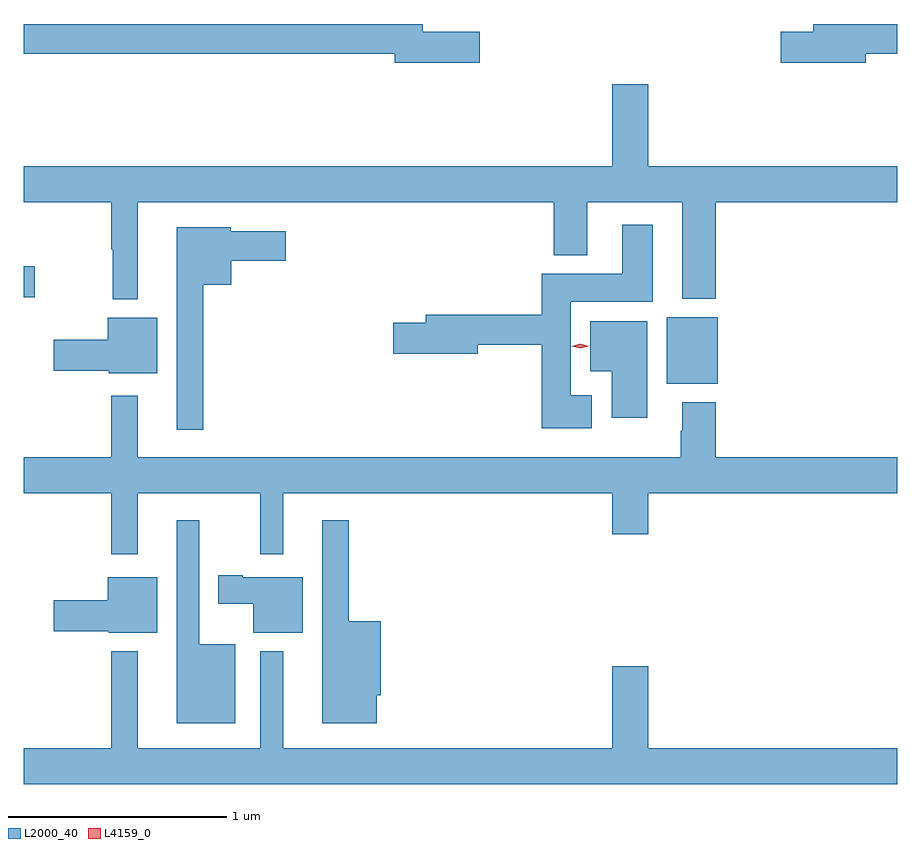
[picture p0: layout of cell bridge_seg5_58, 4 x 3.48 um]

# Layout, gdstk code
import gdstk
lib = gdstk.Library(unit=1e-6, precision=1e-09)
def R(c, l, rs):  # rectangles x0, y0, x1, y1
    for r in rs: c.add(gdstk.rectangle(r[:2], r[2:], *l))
def P(c, l, *ps):  # polygons
    for p in ps: c.add(gdstk.Polygon(p, *l))
L2000_40 = (2000, 40)
L4159_0 = (4159, 0)

bridge_seg5_58 = lib.new_cell('bridge_seg5_58')
R(bridge_seg5_58, L2000_40, [(716.705,891.893,716.938,892.198), (713.761,892.289,713.812,892.431)])
P(bridge_seg5_58, L2000_40, [(715.849,893.504),(715.588,893.504),(715.588,893.54),(713.761,893.54),(713.761,893.404),(715.46,893.404),(715.46,893.362),(715.849,893.362)],
  [(717.616,893.404),(717.761,893.404),(717.761,893.54),(717.377,893.54),(717.377,893.504),(717.228,893.504),(717.228,893.362),(717.616,893.362)],
  [(714.283,892.724),(716.189,892.724),(716.189,892.481),(716.341,892.481),(716.341,892.724),(716.777,892.724),(716.777,892.283),(716.93,892.283),(716.93,892.724),(717.761,892.724),(717.761,892.888),(716.62,892.888),(716.62,893.263),(716.456,893.263),(716.456,892.888),(713.761,892.888),(713.761,892.724),(714.162,892.724),(714.162,892.508),(714.169,892.508),(714.169,892.28),(714.283,892.28)],
  [(716.362,891.841),(716.266,891.841),(716.266,892.268),(716.641,892.268),(716.641,892.621),(716.501,892.621),(716.501,892.396),(716.132,892.396),(716.132,892.208),(715.601,892.208),(715.601,892.172),(715.452,892.172),(715.452,892.03),(715.84,892.03),(715.84,892.072),(716.132,892.072),(716.132,891.689),(716.362,891.689)],
  [(714.583,892.346),(714.712,892.346),(714.712,892.457),(714.961,892.457),(714.961,892.591),(714.708,892.591),(714.708,892.609),(714.461,892.609),(714.461,891.681),(714.583,891.681)],
  [(714.373,892.195),(714.146,892.195),(714.146,892.094),(713.898,892.094),(713.898,891.952),(714.15,891.952),(714.15,891.941),(714.373,891.941)],
  [(716.617,892.18),(716.354,892.18),(716.354,891.95),(716.453,891.95),(716.453,891.738),(716.617,891.738)],
  [(714.283,891.392),(714.843,891.392),(714.843,891.111),(714.949,891.111),(714.949,891.392),(716.456,891.392),(716.456,891.204),(716.62,891.204),(716.62,891.392),(717.761,891.392),(717.761,891.556),(716.93,891.556),(716.93,891.808),(716.777,891.808),(716.777,891.677),(716.77,891.677),(716.77,891.556),(714.283,891.556),(714.283,891.838),(714.162,891.838),(714.162,891.556),(713.761,891.556),(713.761,891.392),(714.162,891.392),(714.162,891.111),(714.283,891.111)],
  [(715.378,890.466),(715.396,890.466),(715.396,890.806),(715.249,890.806),(715.249,891.268),(715.127,891.268),(715.127,890.339),(715.378,890.339)],
  [(714.73,890.701),(714.565,890.701),(714.565,891.268),(714.461,891.268),(714.461,890.339),(714.73,890.339)],
  [(715.039,891.007),(714.763,891.007),(714.763,891.015),(714.651,891.015),(714.651,890.885),(714.812,890.885),(714.812,890.753),(715.039,890.753)],
  [(714.373,891.007),(714.146,891.007),(714.146,890.901),(713.898,890.901),(713.898,890.759),(714.15,890.759),(714.15,890.753),(714.373,890.753)],
  [(717.761,890.224),(716.62,890.224),(716.62,890.599),(716.456,890.599),(716.456,890.224),(714.949,890.224),(714.949,890.668),(714.845,890.668),(714.845,890.224),(714.283,890.224),(714.283,890.668),(714.162,890.668),(714.162,890.224),(713.761,890.224),(713.761,890.06),(717.761,890.06)])
P(bridge_seg5_58, L4159_0, [(716.31,892.055),(716.27,892.065),(716.269,892.065),(716.27,892.065),(716.31,892.075),(716.349,892.065),(716.349,892.065),(716.349,892.065)])

lib.write_gds('bridge_seg5_58.gds')
